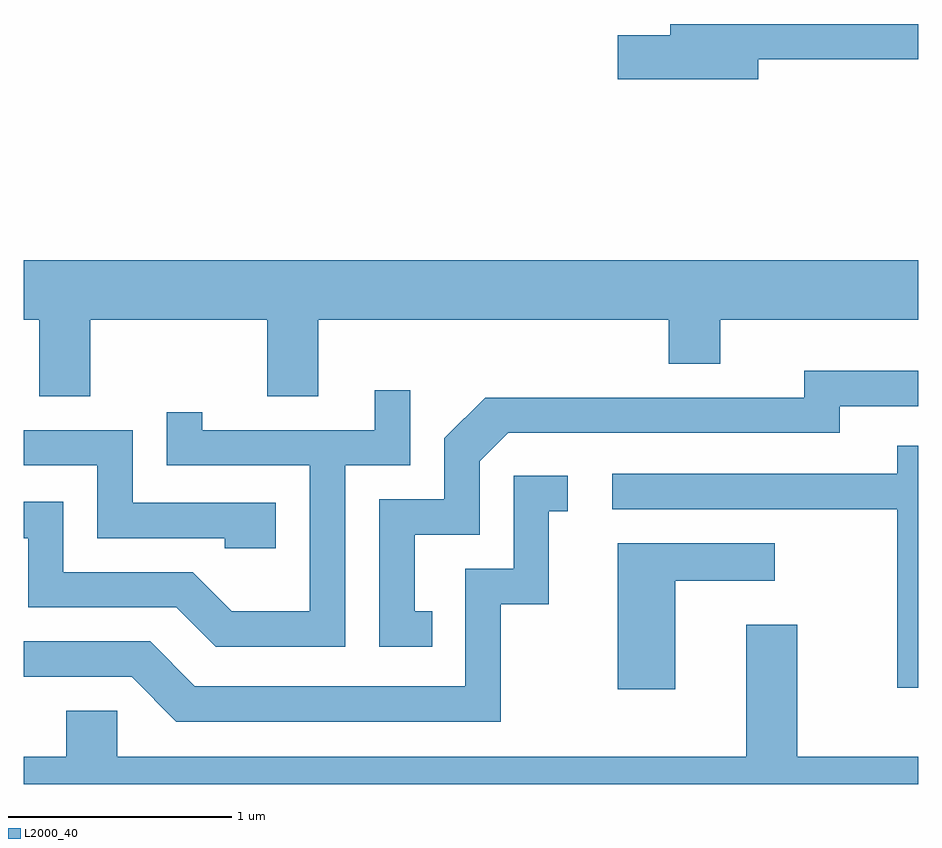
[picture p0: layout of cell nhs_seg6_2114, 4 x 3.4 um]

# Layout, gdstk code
import gdstk
lib = gdstk.Library(unit=1e-6, precision=1e-09)
def P(c, l, *ps):  # polygons
    for p in ps: c.add(gdstk.Polygon(p, *l))
L2000_40 = (2000, 40)

nhs_seg6_2114 = lib.new_cell('nhs_seg6_2114')
P(nhs_seg6_2114, L2000_40, [(252.894,1573.401),(253.611,1573.401),(253.611,1573.559),(252.501,1573.559),(252.501,1573.509),(252.266,1573.509),(252.266,1573.311),(252.894,1573.311)],
  [(249.909,1572.236),(250.701,1572.236),(250.701,1571.896),(250.929,1571.896),(250.929,1572.236),(252.496,1572.236),(252.496,1572.041),(252.724,1572.041),(252.724,1572.236),(253.611,1572.236),(253.611,1572.504),(249.611,1572.504),(249.611,1572.236),(249.681,1572.236),(249.681,1571.896),(249.909,1571.896)],
  [(251.438,1570.934),(251.359,1570.934),(251.359,1571.276),(251.649,1571.276),(251.649,1571.604),(251.777,1571.731),(253.259,1571.731),(253.259,1571.851),(253.611,1571.851),(253.611,1572.009),(253.101,1572.009),(253.101,1571.889),(251.674,1571.889),(251.491,1571.707),(251.491,1571.434),(251.201,1571.434),(251.201,1570.776),(251.438,1570.776)],
  [(251.049,1571.586),(251.339,1571.586),(251.339,1571.923),(251.181,1571.923),(251.181,1571.744),(250.409,1571.744),(250.409,1571.823),(250.251,1571.823),(250.251,1571.586),(250.891,1571.586),(250.891,1570.934),(250.542,1570.934),(250.367,1571.109),(249.789,1571.109),(249.789,1571.424),(249.611,1571.424),(249.611,1571.261),(249.631,1571.261),(249.631,1570.951),(250.294,1570.951),(250.469,1570.776),(251.049,1570.776)],
  [(250.739,1571.419),(250.099,1571.419),(250.099,1571.744),(249.611,1571.744),(249.611,1571.586),(249.941,1571.586),(249.941,1571.261),(250.511,1571.261),(250.511,1571.216),(250.739,1571.216)],
  [(253.611,1571.673),(253.516,1571.673),(253.516,1571.549),(252.243,1571.549),(252.243,1571.391),(253.516,1571.391),(253.516,1570.593),(253.611,1570.593)],
  [(251.744,1570.966),(251.959,1570.966),(251.959,1571.381),(252.043,1571.381),(252.043,1571.539),(251.801,1571.539),(251.801,1571.124),(251.586,1571.124),(251.586,1570.599),(250.377,1570.599),(250.177,1570.799),(249.611,1570.799),(249.611,1570.641),(250.094,1570.641),(250.294,1570.441),(251.744,1570.441)],
  [(252.524,1571.071),(252.968,1571.071),(252.968,1571.239),(252.266,1571.239),(252.266,1570.586),(252.524,1570.586)],
  [(253.611,1570.284),(253.069,1570.284),(253.069,1570.874),(252.841,1570.874),(252.841,1570.284),(250.029,1570.284),(250.029,1570.489),(249.801,1570.489),(249.801,1570.284),(249.611,1570.284),(249.611,1570.162),(253.611,1570.162)])

lib.write_gds('nhs_seg6_2114.gds')
